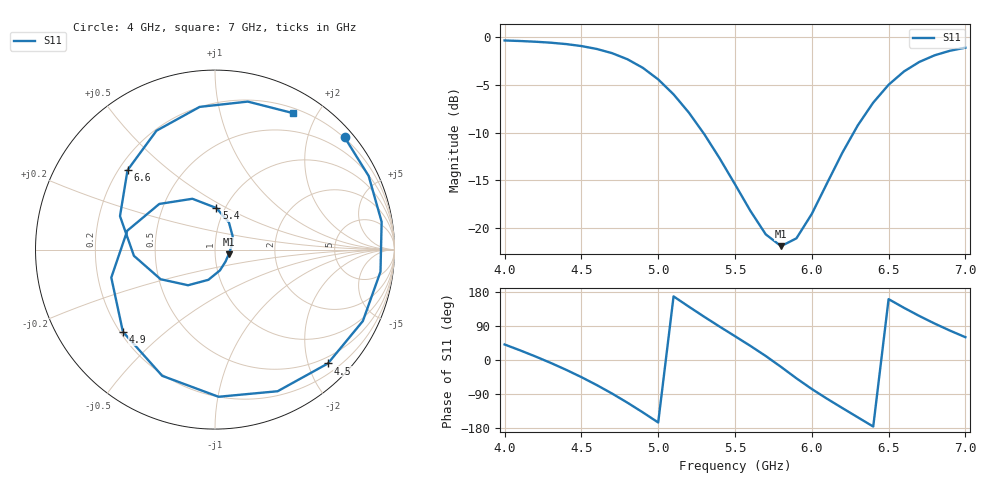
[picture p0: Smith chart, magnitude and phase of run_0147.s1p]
! Touchstone file exported from HFSS 2024.2.0
!  File:  C:/Users/wsak9/Desktop/Sim Fast/Widenad Patch/WP_AI_V1_sweep.aedt
!  Generated:  09:03:30 PM Oct 13, 2026
!  Design:  A1_model
!  Project:  WP_AI_V1_sweep
!  Setup:  Setup1
!  Solution:  Sweep
! Variables:
!  Air_gap = 2.71mm
!  Curve_Amp1 = 0.79
!  Curve_len1 = 1
!  Curve_pos = 10.635mm
!  Extra = 0.88mm
!  H_sub = 0.79mm
!  L_Patch = 17.27mm
!  L_Patch1 = 15.05mm
!  Sx = 0.47mm
!  Sy = 2.69mm
!  WS = 1.04mm
!  W_Patch = 11.92mm
!  W_Patch1 = 14.17mm
!Data is not renormalized
# GHz S MA
! Terminal data exported
! Port[1] = 1
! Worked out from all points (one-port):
!   31 points, 4 GHz to 7 GHz, reference per port
!   lowest |S11| = -21.9 dB at 5.8 GHz (marker M1), VSWR 1.18
!   |S11| at or under -10 dB: 5.292 GHz to 6.273 GHz (981.1 MHz wide, 17 % of centre)
!   S11 on the Smith chart (normalised r, x): 4 GHz: 0.18, +2.67; 4.5 GHz: 0.37, -2.35; 4.9 GHz: 0.21, -0.37; 5.4 GHz: 0.91, +0.45; 6.6 GHz: 0.24, +0.37; 7 GHz: 0.26, +1.70
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4  0.9556 41.0
4.2  0.9412 9.5
4.3  0.9302 -7.6
4.4  0.915 -25.8
4.5  0.8934 -45.2
4.6  0.8629 -66.1
4.7  0.8202 -88.6
4.8  0.7623 -112.7
4.9  0.6878 -138.2
5  0.5985 -164.9
5.1  0.5001 167.9
5.2  0.4013 140.7
5.3  0.3099 114.0
5.4  0.2318 88.1
5.5  0.1697 62.8
5.7  0.09305 10.6
5.8  0.08071 -18.3
5.9  0.08869 -48.4
6.1  0.1724 -102.4
6.2  0.2489 -127.1
6.3  0.3451 -151.4
6.4  0.453 -175.6
6.5  0.5611 160.6
6.6  0.6584 137.8
6.7  0.7383 116.2
6.8  0.7997 96.1
6.9  0.8446 77.5
7  0.8762 60.2
